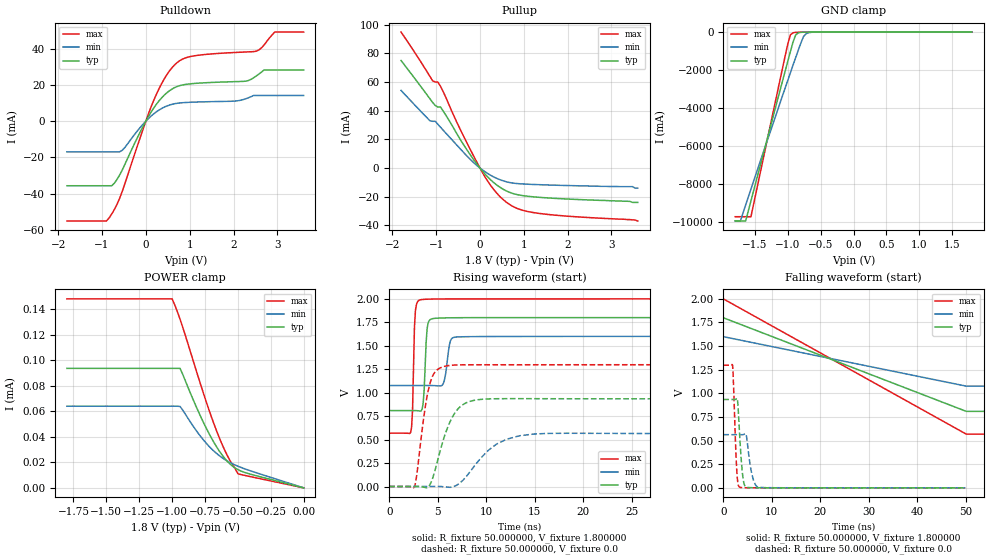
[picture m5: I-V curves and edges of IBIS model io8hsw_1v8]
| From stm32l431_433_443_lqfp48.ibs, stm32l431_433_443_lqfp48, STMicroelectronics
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|   Model io8hsw_1v8
[Model]  io8hsw_1v8
Model_type I/O
Polarity   Non-Inverting
Enable   Active-Low
Vinl =   0.540000V
Vinh =   1.260000V
Vmeas =  0.900000V
Cref =   100.000000nF
Rref =   1.000000k
Vref =   1.800000V
C_comp   3.002500pF   2.845500pF   3.023700pF
[Temperature Range]   25.000000   0.125000k   -40.000000
[Pullup Reference]   1.800000V   1.600000V   2.000000V
[Pulldown Reference]   0.0V   0.0V   0.0V
[POWER Clamp Reference]   1.800000V   1.600000V   2.000000V
[GND Clamp Reference]   0.0V   0.0V   0.0V
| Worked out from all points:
|   slope of the pulldown table from 0 to 0.27 V, typ, clamps not added: 26.4 ohm
|   slope of the pullup table from 0 to 0.27 V, typ, clamps not added: 30.1 ohm
|   GND clamp passes 1 mA (typ) near -0.58 V on its own axis
|   rising waveform, R_fixture 50.000000, V_fixture 1.800000: 20-80 % time 264ps typ, 404ps min, 196ps max; typ from 0.81 V to 1.8 V
|   rising waveform, R_fixture 50.000000, V_fixture 0.0: 20-80 % time 1.79ns typ, 3.05ns min, 1.06ns max; typ from 0.001 V to 0.935 V
|   falling waveform, R_fixture 50.000000, V_fixture 1.800000: 20-80 % time 30ns typ, 30ns min, 30ns max; typ from 1.8 V to 0.81 V
|   falling waveform, R_fixture 50.000000, V_fixture 0.0: 20-80 % time 719ps typ, 1.03ns min, 555ps max; typ from 0.935 V to 0.001 V
[Pulldown]
|Voltage   I(typ)   I(min)   I(max)
-1.8V     -35.64mA   -16.93mA   -55.1mA
-840mV    -35.64mA   -16.93mA   -53.52mA
-720mV    -34.31mA   -16.93mA   -48.86mA
-540mV    -27.04mA   -16.13mA   -38.89mA
240mV     9.303mA    5.14mA     14.78mA
480mV     15.67mA    8.374mA    25.64mA
720mV     19.18mA    9.883mA    32.46mA
1.14V     20.87mA    10.54mA    36.19mA
2.28V     22.08mA    12.36mA    38.18mA
2.52V     24.96mA    14.17mA    38.63mA
2.94V     28.28mA    14.17mA    49.19mA
3.6V      28.28mA    14.17mA    49.19mA
[Pullup]
|Voltage   I(typ)   I(min)   I(max)
-1.8V     75.08mA    54.18mA    94.95mA
-1.14V    48.3mA     32.94mA    63.91mA
-1.08V    45.81mA    32.62mA    60.91mA
-960mV    42.6mA     30.54mA    60.04mA
-900mV    42.6mA     28.5mA     57.07mA
-480mV    21.53mA    14.44mA    28.9mA
0V        40fA       141.7pA    0A
300mV     -9.801mA   -6.008mA   -14.46mA
600mV     -15.96mA   -9.582mA   -23.81mA
900mV     -18.89mA   -10.98mA   -28.81mA
1.32V     -20.37mA   -11.6mA    -31.56mA
3.6V      -24mA      -14mA      -37mA
[GND_clamp]
|Voltage   I(typ)   I(min)   I(max)
-1.8V     -9.93A     -9.932A    -9.707A
-1.72V    -9.93A     -9.932A    -9.707A
-1.64V    -9.93A     -9.083A    -9.707A
-1.56V    -8.876A    -8.251A    -9.707A
-1V       -1.54A     -2.541A    -631mA
-960mV    -1.028A    -2.139A    -153.7mA
-920mV    -527mA     -1.74A     -39.12mA
-880mV    -155.6mA   -1.344A    -18.01mA
-840mV    -45.32mA   -953mA     -12.68mA
-760mV    -8.418mA   -235mA     -7.62mA
-680mV    -3.44mA    -33.01mA   -3.865mA
1.8V      0A         0A         0A
[POWER_clamp]
|Voltage   I(typ)   I(min)   I(max)
-1.8V     93.65uA    63.98uA    148.1uA
-1V       93.65uA    63.98uA    148.1uA
-940mV    93.65uA    63.82uA    132.2uA
-780mV    55.19uA    39.85uA    79.88uA
-720mV    42.64uA    32.64uA    61.13uA
-680mV    35.2uA     28.59uA    49.56uA
-640mV    28.65uA    25.14uA    38.93uA
-600mV    23.11uA    22.24uA    29.46uA
-560mV    18.7uA     19.84uA    21.37uA
-500mV    14.28uA    16.96uA    11.08uA
-400mV    10.58uA    13.2uA     8.679uA
0V        0A         0A         0A
[Ramp]
| variable   typ   min   max
dV/dt_r  0.56073/1.79170n   0.33711/3.03795n   0.77863/1.05387n
dV/dt_f  0.59411/1.73150n   0.31410/3.03748n   0.85869/0.96383n
R_load = 50.000000
[Rising Waveform]
R_fixture= 50.000000
V_fixture= 1.800000
V_fixture_min= 1.600000
V_fixture_max= 2.000000
|time   V(typ)   V(min)   V(max)
0s        809.8mV    1.076V     568.8mV
2.202ns   809.8mV    1.076V     575.5mV
2.402ns   809.8mV    1.076V     805mV
2.703ns   809.5mV    1.076V     1.875V
3.203ns   803.9mV    1.077V     1.99V
3.504ns   893.5mV    1.077V     1.994V
3.904ns   1.681V     1.077V     1.996V
4.505ns   1.79V      1.076V     1.998V
6.907ns   1.799V     1.593V     2V
49.85ns   1.8V       1.6V       2V
[Rising Waveform]
R_fixture= 50.000000
V_fixture= 0.0
V_fixture_min= 0.0
V_fixture_max= 0.0
|time   V(typ)   V(min)   V(max)
0s        727.6uV    1.154mV    483.6uV
2.603ns   742.7uV    1.154mV    -6.412mV
4.104ns   4.724mV    1.159mV    1.059V
4.705ns   167mV      1.251mV    1.218V
5.506ns   472.8mV    -1.31mV    1.276V
6.507ns   740.7mV    -4.077mV   1.293V
7.708ns   879.9mV    80.01mV    1.297V
10.31ns   934.2mV    393.9mV    1.298V
13.51ns   936.5mV    542.3mV    1.298V
49.85ns   935.3mV    563.1mV    1.298V
[Falling Waveform]
R_fixture= 50.000000
V_fixture= 1.800000
V_fixture_min= 1.600000
V_fixture_max= 2.000000
|time   V(typ)   V(min)   V(max)
0s        1.8V       1.6V       2V
50.05ns   809.8mV    1.077V     568.9mV
150.2ns   809.8mV    1.076V     568.8mV
4.955us   809.8mV    1.076V     568.8mV
[Falling Waveform]
R_fixture= 50.000000
V_fixture= 0.0
V_fixture_min= 0.0
V_fixture_max= 0.0
|time   V(typ)   V(min)   V(max)
0s        935.3mV    563.1mV    1.298V
1.902ns   935.3mV    563.1mV    1.3V
2.803ns   948.9mV    563.1mV    157.6mV
3.403ns   522.9mV    562.9mV    6.336mV
3.904ns   172.9mV    562.7mV    2.713mV
4.304ns   37.82mV    567.8mV    1.95mV
4.705ns   9.576mV    562.4mV    1.572mV
5.906ns   2.082mV    140.3mV    1.025mV
7.207ns   1.26mV     7.648mV    833.2uV
49.85ns   727.6uV    1.154mV    483.6uV
